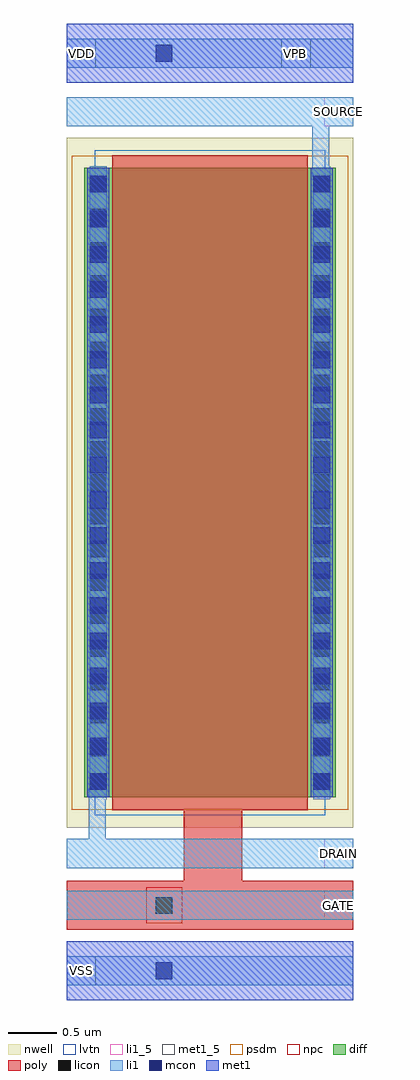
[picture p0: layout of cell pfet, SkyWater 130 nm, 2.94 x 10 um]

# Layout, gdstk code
import gdstk
lib = gdstk.Library(unit=1e-6, precision=1e-09)
def R(c, l, rs):  # rectangles x0, y0, x1, y1
    for r in rs: c.add(gdstk.rectangle(r[:2], r[2:], *l))
def A(c, l, x, y, w, h, nx, ny, dx, dy):  # array of equal rectangles
    R(c, l, [(x+i*dx, y+j*dy, x+i*dx+w, y+j*dy+h) for i in range(nx) for j in range(ny)])
nwell = (64, 20)
diff = (65, 20)
poly = (66, 20)
licon = (66, 44)
li1_5 = (67, 5)
li1 = (67, 20)
mcon = (67, 44)
met1_5 = (68, 5)
met1 = (68, 20)
psdm = (94, 20)
npc = (95, 20)
lvtn = (125, 44)

sky130_fd_pr__pfet_01v8_ = lib.new_cell('sky130_fd_pr__pfet_01v8_lvt_PS7NHM')
R(sky130_fd_pr__pfet_01v8_, nwell, [(-1.47,-3.535,1.47,3.535)])
R(sky130_fd_pr__pfet_01v8_, diff, [(-1.29,-3.225,1.29,3.225)])
R(sky130_fd_pr__pfet_01v8_, poly, [(-1,-3.355,1,3.355)])
A(sky130_fd_pr__pfet_01v8_, licon, -1.23, -3.145, 0.17, 0.17, 1, 19, 0, 0.34)
A(sky130_fd_pr__pfet_01v8_, licon, 1.06, -3.145, 0.17, 0.17, 1, 19, 0, 0.34)
R(sky130_fd_pr__pfet_01v8_, li1, [(-1.23,-3.245,-1.06,3.245), (1.06,-3.245,1.23,3.245)])
A(sky130_fd_pr__pfet_01v8_, mcon, -1.23, -3.145, 0.17, 0.17, 1, 18, 0, 0.36)
A(sky130_fd_pr__pfet_01v8_, mcon, 1.06, -3.145, 0.17, 0.17, 1, 18, 0, 0.36)
R(sky130_fd_pr__pfet_01v8_, met1, [(-1.26,-3.225,-1.03,3.225), (1.03,-3.225,1.26,3.225)])
R(sky130_fd_pr__pfet_01v8_, psdm, [(-1.415,-3.35,1.415,3.35)])
R(sky130_fd_pr__pfet_01v8_, lvtn, [(-1.18,-3.405,1.18,3.405)])

pfet = lib.new_cell('pfet')
R(pfet, poly, [(-1.47,-4.58,1.47,-4.08), (-0.27,-4.08,0.33,-3.23)])
R(pfet, licon, [(-0.555,-4.415,-0.385,-4.245)])
R(pfet, li1_5, [(1.17,-4.48,1.47,-4.18), (1.17,-3.95,1.47,-3.65), (1.17,3.65,1.47,3.95)])
R(pfet, li1, [(-1.47,-5.15,1.47,-4.85), (-1.47,-4.48,1.47,-4.18), (-1.47,-3.95,1.47,-3.65), (-1.24,-3.65,-1.07,-3.13), (1.05,3.13,1.22,3.65), (-1.47,3.65,1.47,3.95), (-1.47,4.25,1.47,4.55)])
R(pfet, mcon, [(-0.555,-5.085,-0.385,-4.915), (-0.555,4.315,-0.385,4.485)])
R(pfet, met1_5, [(-1.47,-5.15,-1.17,-4.85), (-1.47,4.25,-1.17,4.55), (0.73,4.25,1.03,4.55)])
R(pfet, met1, [(-1.47,-5.3,1.47,-4.7), (-1.47,4.1,1.47,4.7)])
R(pfet, npc, [(-0.655,-4.515,-0.285,-4.145)])
pfet.add(gdstk.Reference(sky130_fd_pr__pfet_01v8_, (0,0)))
pfet.add(gdstk.Label('VDD', (-1.32,4.4), layer=68, texttype=5))
pfet.add(gdstk.Label('VPB', (0.88,4.4), layer=68, texttype=5))
pfet.add(gdstk.Label('VSS', (-1.32,-5), layer=68, texttype=5))
pfet.add(gdstk.Label('SOURCE', (1.32,3.8), layer=67, texttype=5))
pfet.add(gdstk.Label('DRAIN', (1.32,-3.8), layer=67, texttype=5))
pfet.add(gdstk.Label('GATE', (1.32,-4.33), layer=67, texttype=5))

lib.write_gds('pfet.gds')
